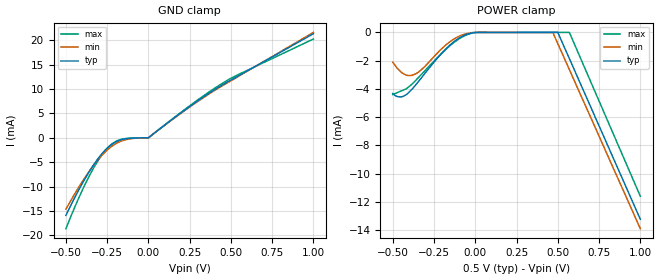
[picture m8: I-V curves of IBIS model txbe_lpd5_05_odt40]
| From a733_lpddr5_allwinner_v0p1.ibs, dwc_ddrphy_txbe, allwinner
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[Model] txbe_lpd5_05_odt40
Model_type   Input
Polarity   Non-Inverting
Enable   Active-High
C_comp   923.783fF   922.686fF   931.249fF
C_comp_pullup   277.614fF   272.834fF   281.853fF
C_comp_pulldown   488.155fF   483.978fF   500.475fF
Vinh = 310.000mV
Vinl = 190.000mV
[Model Spec]
D_overshoot_ampl_h 0.1 NA   NA
D_overshoot_ampl_l 0.1 NA   NA
D_overshoot_area_l 300.000m NA   NA
D_overshoot_area_h 300.000m NA   NA
[Receiver Thresholds]
Vth = 125.000mV
Vth_min = 118.000mV
Vth_max = 143.000mV
Vinh_ac = 60.000mV
Vinh_dc = 60.000mV
Vinl_ac = -60.000mV
Vinl_dc = -60.000mV
Tslew_ac = 5.000ns
Threshold_sensitivity = 0.5
Reference_supply Power_clamp_ref
[Temperature Range]   25.000   125.000   -40.000
[Voltage Range]   500.000mV   470.000mV   570.000mV
[GND Clamp Reference]   0.00V   0.00V   0.00V
[C Comp Corner]
| variable   typ   min   max
C_comp   923.783fF   922.686fF   931.249fF
C_comp_pullup   277.614fF   272.834fF   281.853fF
C_comp_pulldown   488.155fF   483.978fF   500.475fF
[POWER Clamp Reference]   500.000mV   470.000mV   570.000mV
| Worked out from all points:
|   GND clamp passes 1 mA (typ) near -0.21 V on its own axis
|   POWER clamp passes 1 mA (typ) near -0.16 V on its own axis
[GND Clamp]
-500mV    -15.88mA   -14.6mA    -18.61mA
-420mV    -10.55mA   -10.02mA   -12.17mA
-340mV    -5.936mA   -5.995mA   -6.661mA
-280mV    -3.193mA   -3.516mA   -3.419mA
-250mV    -2.121mA   -2.516mA   -2.177mA
-220mV    -1.295mA   -1.693mA   -1.243mA
-170mV    -463.1uA   -746.9uA   -371.5uA
-130mV    -180uA     -334.4uA   -127.1uA
0V        0A         0A         0A
280mV     7.107mA    6.999mA    7.285mA
470mV     11.25mA    11.08mA    11.6mA
1V        21.31mA    21.57mA    20.22mA
[Power Clamp]
-500mV    -4.33mA    -2.11mA    -4.4mA
-450mV    -4.57mA    -2.81mA    -4.15mA
-380mV    -3.98mA    -3.024mA   -3.62mA
-330mV    -3.27mA    -2.674mA   -3.02mA
-180mV    -1.19mA    -904uA     -1.22mA
-110mV    -490uA     -338uA     -550uA
-50mV     -130uA     -80uA      -160uA
20mV      -46.61nA   -398.7nA   -6.636nA
470mV     -1.388uA   -11.34uA   -235.8nA
500mV     -1.488uA   -796.9uA   -253.4nA
570mV     -1.853mA   -2.63mA    -295.1nA
1V        -13.23mA   -13.89mA   -11.6mA
